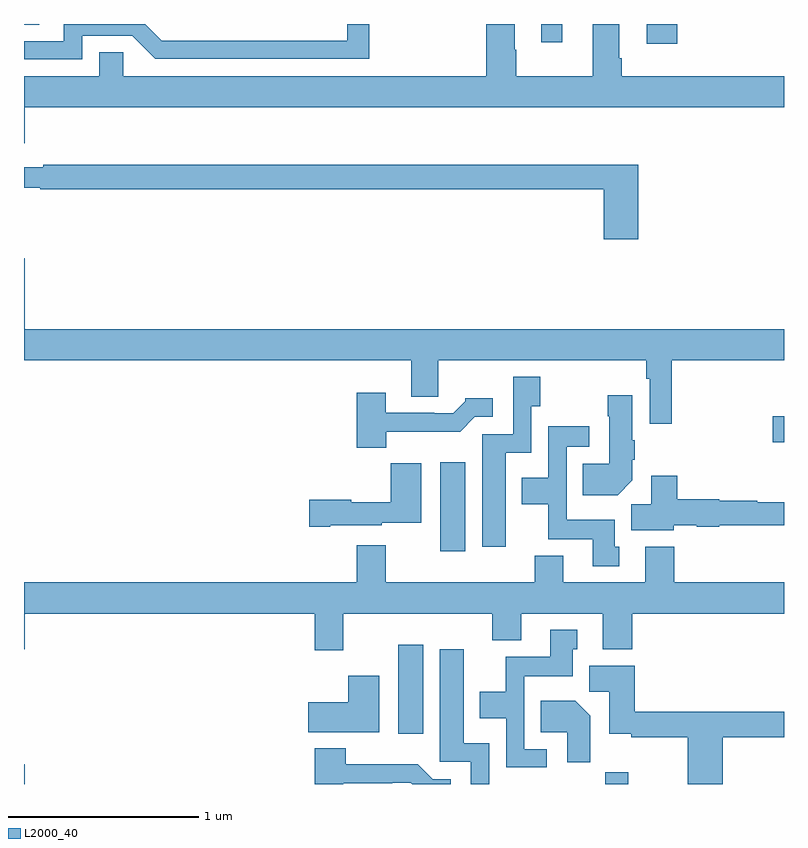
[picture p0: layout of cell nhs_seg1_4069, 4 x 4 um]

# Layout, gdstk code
import gdstk
lib = gdstk.Library(unit=1e-6, precision=1e-09)
def R(c, l, rs):  # rectangles x0, y0, x1, y1
    for r in rs: c.add(gdstk.rectangle(r[:2], r[2:], *l))
def P(c, l, *ps):  # polygons
    for p in ps: c.add(gdstk.Polygon(p, *l))
L2000_40 = (2000, 40)

nhs_seg1_4069 = lib.new_cell('nhs_seg1_4069')
R(nhs_seg1_4069, L2000_40, [(333,520.199,333.004,520.303), (336.06,520.199,336.181,520.261), (334.97,520.464,335.101,520.933), (335.192,521.424,335.323,521.893), (336.942,521.998,337,522.135), (336.278,524.094,336.437,524.199), (335.723,524.103,335.833,524.199), (333,524.194,333.08,524.199)])
P(nhs_seg1_4069, L2000_40, [(333.004,523.76),(337,523.76),(337,523.924),(336.146,523.924),(336.146,524.02),(336.133,524.02),(336.133,524.199),(335.993,524.199),(335.993,523.924),(335.592,523.924),(335.592,524.063),(335.584,524.063),(335.584,524.199),(335.432,524.199),(335.432,523.924),(333.522,523.924),(333.522,524.051),(333.395,524.051),(333.395,523.924),(333,523.924),(333,523.572),(333.004,523.572)],
  [(333.306,524.136),(333.57,524.136),(333.69,524.016),(334.817,524.016),(334.817,524.199),(334.701,524.199),(334.701,524.112),(333.726,524.112),(333.639,524.199),(333.21,524.199),(333.21,524.109),(333,524.109),(333,524.013),(333.306,524.013)],
  [(336.233,523.459),(333.1,523.459),(333.1,523.446),(333,523.446),(333,523.338),(333.086,523.338),(333.086,523.33),(336.05,523.33),(336.05,523.065),(336.233,523.065)],
  [(336.41,522.428),(337,522.428),(337,522.592),(333.004,522.592),(333.004,522.967),(333,522.967),(333,522.428),(335.039,522.428),(335.039,522.238),(335.179,522.238),(335.179,522.428),(336.274,522.428),(336.274,522.332),(336.294,522.332),(336.294,522.096),(336.41,522.096)],
  [(335.536,521.942),(335.67,521.942),(335.67,522.187),(335.718,522.187),(335.718,522.343),(335.574,522.343),(335.574,522.039),(335.411,522.039),(335.411,521.448),(335.536,521.448)],
  [(334.906,522.054),(335.295,522.054),(335.373,522.132),(335.467,522.132),(335.467,522.229),(335.322,522.229),(335.322,522.214),(335.258,522.15),(335.159,522.15),(335.159,522.153),(334.903,522.153),(334.903,522.259),(334.751,522.259),(334.751,521.969),(334.906,521.969)],
  [(336.202,521.798),(336.202,521.905),(336.215,521.905),(336.215,522.008),(336.202,522.008),(336.202,522.246),(336.073,522.246),(336.073,522.134),(336.08,522.134),(336.08,521.884),(335.941,521.884),(335.941,521.72),(336.124,521.72)],
  [(336.133,521.448),(336.109,521.448),(336.109,521.59),(335.856,521.59),(335.856,521.973),(335.974,521.973),(335.974,522.082),(335.76,522.082),(335.76,521.812),(335.621,521.812),(335.621,521.672),(335.758,521.672),(335.758,521.486),(335.993,521.486),(335.993,521.346),(336.133,521.346)],
  [(334.612,521.561),(334.884,521.561),(334.884,521.573),(335.092,521.573),(335.092,521.887),(334.93,521.887),(334.93,521.683),(334.722,521.683),(334.722,521.696),(334.5,521.696),(334.5,521.554),(334.612,521.554)],
  [(336.42,521.561),(336.54,521.561),(336.54,521.554),(336.66,521.554),(336.66,521.562),(337,521.562),(337,521.683),(336.86,521.683),(336.86,521.69),(336.66,521.69),(336.66,521.698),(336.437,521.698),(336.437,521.821),(336.302,521.821),(336.302,521.672),(336.197,521.672),(336.197,521.534),(336.42,521.534)],
  [(334.681,521.096),(335.465,521.096),(335.465,520.955),(335.617,520.955),(335.617,521.096),(336.047,521.096),(336.047,520.907),(336.2,520.907),(336.2,521.096),(337,521.096),(337,521.26),(336.422,521.26),(336.422,521.449),(336.269,521.449),(336.269,521.26),(335.839,521.26),(335.839,521.401),(335.687,521.401),(335.687,521.26),(334.903,521.26),(334.903,521.455),(334.751,521.455),(334.751,521.26),(333,521.26),(333,520.908),(333.004,520.908),(333.004,521.096),(334.529,521.096),(334.529,520.902),(334.681,520.902)],
  [(335.752,520.383),(335.634,520.383),(335.634,520.766),(335.887,520.766),(335.887,520.908),(335.911,520.908),(335.911,521.011),(335.771,521.011),(335.771,520.87),(335.536,520.87),(335.536,520.684),(335.399,520.684),(335.399,520.544),(335.538,520.544),(335.538,520.287),(335.752,520.287)],
  [(335.448,520.414),(335.314,520.414),(335.314,520.909),(335.189,520.909),(335.189,520.317),(335.352,520.317),(335.352,520.199),(335.448,520.199)],
  [(336.677,520.444),(337,520.444),(337,520.58),(336.215,520.58),(336.215,520.822),(335.975,520.822),(335.975,520.684),(336.08,520.684),(336.08,520.463),(336.196,520.463),(336.196,520.444),(336.494,520.444),(336.494,520.199),(336.677,520.199)],
  [(334.87,520.77),(334.706,520.77),(334.706,520.63),(334.497,520.63),(334.497,520.472),(334.87,520.472)],
  [(335.98,520.558),(335.902,520.636),(335.719,520.636),(335.719,520.472),(335.858,520.472),(335.858,520.314),(335.98,520.314)],
  [(334.681,520.203),(334.937,520.203),(334.937,520.206),(335.036,520.206),(335.043,520.199),(335.245,520.199),(335.245,520.224),(335.151,520.224),(335.073,520.303),(334.694,520.303),(334.694,520.387),(334.529,520.387),(334.529,520.199),(334.681,520.199)])

lib.write_gds('nhs_seg1_4069.gds')
